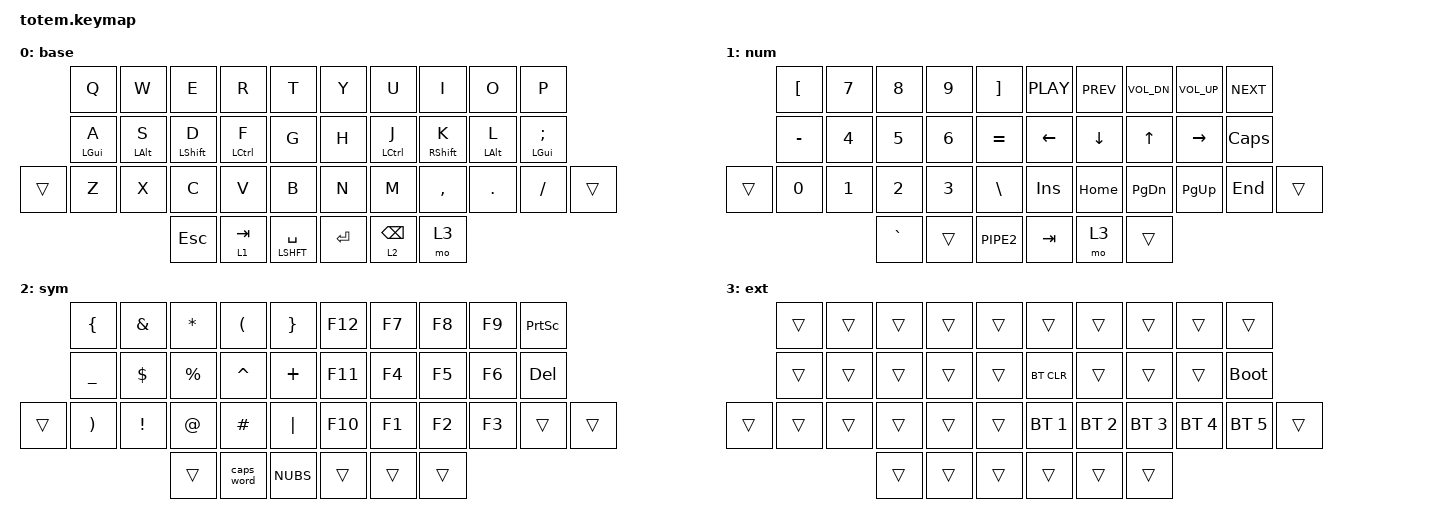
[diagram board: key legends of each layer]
#include <behaviors.dtsi>
#include <dt-bindings/zmk/keys.h>
#include <dt-bindings/zmk/bt.h>
#include <dt-bindings/zmk/outputs.h>
#include "zmk-helpers/helper.h"
#include "zmk-helpers/key-labels/totem.h"
#include "include/combos.dtsi"
#include "include/hold-tap.dtsi"
#include "include/settings.dtsi"

ZMK_LAYER(base,
		            &kp Q           &kp W       &kp E        &kp R          &kp T           &kp Y       &kp U            &kp I         &kp O       &kp P           
		            &hml LGUI A     &hml LALT S &hml LSHFT D &hml LCTRL F   &kp G           &kp H       &hmr LCTRL J     &hmr RSHFT K  &hmr LALT L &hmr LGUI SEMI  
    &trans      &kp Z           &kp X       &kp C        &kp V          &kp B           &kp N       &kp M            &kp COMMA     &kp DOT     &kp FSLH       &trans
      				                              &kp ESC      &lt_tab 1 TAB  &lt_shift LSHFT SPACE &kp RET     &lt_back 2 BSPC  &mo 3
)

ZMK_LAYER(num,  
                &kp LBKT        &kp N7      &kp N8     &kp N9           &kp RBKT       &kp C_PLAY  &kp C_PREV       &kp C_VOL_DN  &kp C_VOL_UP &kp C_NEXT  
                &kp MINUS       &kp N4      &kp N5     &kp N6           &kp EQUAL      &kp LEFT    &kp DOWN         &kp UP        &kp RIGHT   &kp CAPSLOCK 
    &trans      &kp N0          &kp N1      &kp N2     &kp N3           &kp BSLH       &kp INS     &kp HOME         &kp PG_DN     &kp PG_UP   &kp END         &trans
                                            &kp GRAVE  &trans           &kp PIPE2      &kp TAB     &mo 3            &trans
)

ZMK_LAYER(sym,
                &kp LBRC        &kp AMPS    &kp ASTRK  &kp LPAR         &kp RBRC       &kp F12     &kp F7           &kp F8        &kp F9      &kp PSCRN       
                &kp UNDERSCORE  &kp DLLR    &kp PRCNT  &kp CARET        &kp PLUS       &kp F11     &kp F4           &kp F5        &kp F6      &kp DEL         
    &trans      &kp RPAR        &kp EXCL    &kp AT     &kp HASH         &kp PIPE       &kp F10     &kp F1           &kp F2        &kp F3      &trans          &trans
                                            &trans     &caps_word       &kp NUBS       &trans      &trans           &trans          
)

ZMK_LAYER(ext,
                &trans          &trans      &trans     &trans           &trans         &trans       &trans          &trans        &trans    &trans          
                &trans          &trans      &trans     &trans           &trans         &bt BT_CLR   &trans          &trans        &trans    &bootloader     
    &trans      &trans          &trans      &trans     &trans           &trans         &bt BT_SEL 1 &bt BT_SEL 2    &bt BT_SEL 3  &bt BT_SEL 4  &bt BT_SEL 5  &trans
                                                        &trans     &trans           &trans         &trans       &trans          &trans
)
